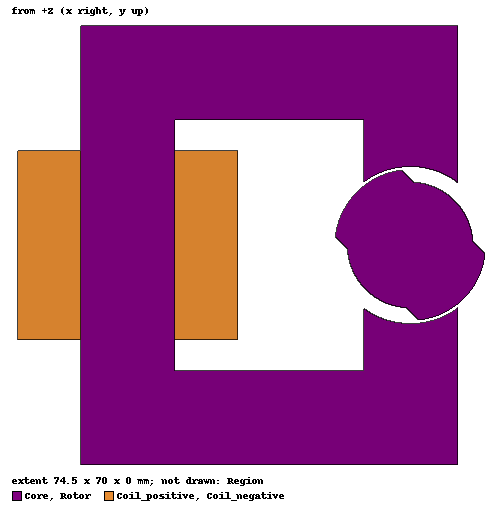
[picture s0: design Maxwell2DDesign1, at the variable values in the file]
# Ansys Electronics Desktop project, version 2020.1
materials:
  vacuum: permittivity=1
  copper: permeability=0.999991 conductivity=58000000
  air: permittivity=1.0006 permeability=1.0000004
  steel_1008_linear: permeability=178 conductivity=2000000
  steel_1008_linear_highperm: permeability=2148.6 conductivity=2000000

design Maxwell2DDesign1 (Maxwell 2D, Magnetostatic, XY geometry, model units mm)
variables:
  theta_rot = 0deg
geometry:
  Rectangle1 = rectangle(corner=(-52.5mm, -35mm, 0mm), x_size=15mm, y_size=35mm)
  Rectangle2 = rectangle(corner=(-37.5mm, -35mm, 0mm), x_size=45mm, y_size=15mm)
  Rectangle3 = rectangle(corner=(-7.5mm, -20mm, 0mm), x_size=15mm, y_size=20mm)
  Rectangle1.unite(Rectangle2, Rectangle3)
  Core [steel_1008_linear_highperm] = Rectangle1.duplicate_mirror(point=(-22mm, 0mm, 0mm), normal=(0mm, 1mm, 0mm))
  Core.unite(Rectangle1)
  Circle1 = circle(normal=Z, centre=(0mm, 0mm, 0mm), radius=12.5mm)
  Core.subtract(Circle1)
  Rotor [steel_1008_linear_highperm] = circle(normal=Z, centre=(0mm, 0mm, 0mm), radius=10mm)
  Coil_positive [copper] = rectangle(corner=(-62.5mm, -15mm, 0mm), x_size=10mm, y_size=30mm)
  Coil_negative [copper] = rectangle(corner=(-37.5mm, -15mm, 0mm), x_size=10mm, y_size=30mm)
  Rectangle6 = rectangle(corner=(-7.5mm, -12mm, 0mm), x_size=15mm, y_size=24mm)
  Circle3 = circle(normal=Z, centre=(0mm, 0mm, 0mm), radius=12mm)
  Rectangle6.intersect(Circle3)
  Rotor.unite(Rectangle6)
  Region [air] = region(percentage_offset: +X=100, -X=100, +Y=100, -Y=100, +Z=0, -Z=0)
  Rotor.rotate(axis=Z, angle=45deg)
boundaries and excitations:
  Balloon1: Balloon Edges=Region.edge(all 4)
  Current_positive: Current Objects=Coil_positive Current=750A IsPositive=true
  Current_negative: Current Objects=Coil_negative Current=750A IsPositive=false
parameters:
  Matrix1: Matrix Current_negative, Current_positive: NumberOfTurns=250; group Group1 = Current_negative, Current_positive (1 parallel)
  Torque1: Torque Coordinate_System=Global Is_Positive=true Objects=Rotor
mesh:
  initial mesh: MeshMethod=AnsoftTAU
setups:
  Setup1: Magnetostatic MaximumPasses=10 MinimumPasses=2 MinimumConvergedPasses=1 PercentRefinement=30 PercentError=1 NonLinearResidual=0.0001
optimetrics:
  ParametricSetup1: Parametric Sim._Setups=[Setup1]
    sweep theta_rot: LIN -90deg 90deg 5deg
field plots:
  B_Vector1: B over Core, Rotor, Coil_positive, Coil_negative, Region on Setup1 : LastAdaptive
